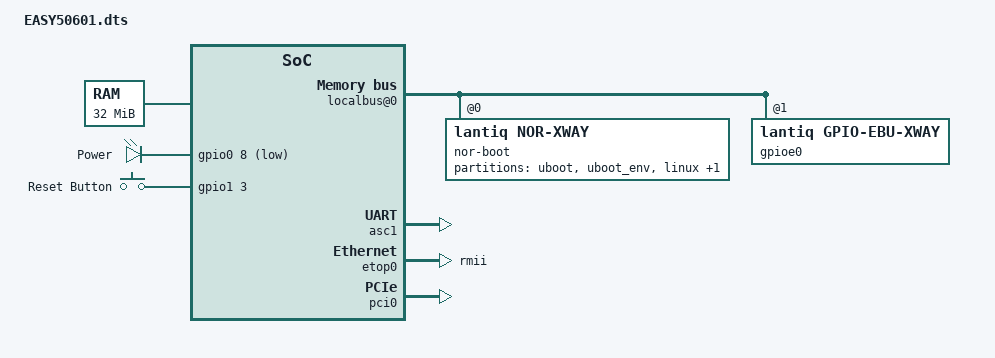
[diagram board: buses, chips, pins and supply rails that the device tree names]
/dts-v1/;

/ {
	#address-cells = <1>;
	#size-cells = <1>;
	compatible = "lantiq,xway";

	/* this node is available during early boot */
	chosen {
		/* define our machtype */
		machid = "foo";
		machname = "Test 1234";
		bootargs = "console=ttyLTQ0,115200 init=/etc/preinit";
	};

	cpus {
		cpu@0 {
			compatible = "mips,mips24k";
		};
	};

	memory@0 {
		reg = <0x0 0x2000000>;  // 32M at 0x0
	};
	
	soc@1F800000 {
		#address-cells = <1>;
		#size-cells = <1>;
		compatible = "lantiq,danube", "lantiq,ar9",
				"lantiq,ase", "lantiq,vr9";
		reg = <0x1F800000 0x800000>;
		ranges = <0x0 0x1F800000 0x7FFFFF>;

		icu0: icu@80200 {
			#interrupt-cells = <1>;
			interrupt-controller;
			compatible = "lantiq,icu";
			reg = <0x80200 0x120>;
		};

		watchdog@803F0 {
			compatible = "lantiq,wdt";
			reg = <0x803F0 0x10>;
		};
	};

	sram@1F000000 {
		#address-cells = <1>;
		#size-cells = <1>;
		compatible = "lantiq,sram";
		reg = <0x1F000000 0x800000>;
		ranges = <0x0 0x1F000000 0x7FFFFF>;

		eiu0: eiu@101000 {
			#interrupt-cells = <1>;
			interrupt-controller;
			interrupt-parent;
			compatible = "lantiq,eiu-xway";
			reg = <0x101000 0x1000>;
		};

		pmu0: pmu@102000 {
			compatible = "lantiq,pmu-xway";
			reg = <0x102000 0x1000>;
		};

		cgu0: cgu@103000 {
			compatible = "lantiq,cgu-xway";
			reg = <0x103000 0x1000>;
			#clock-cells = <1>;
		};

		rcu0: rcu@203000 {
			compatible = "lantiq,rcu-xway";
			reg = <0x203000 0x1000>;
		};
	};

	fpi@10000000 {
		#address-cells = <1>;
		#size-cells = <1>;
		compatible = "lantiq,fpi";
		ranges = <0x0 0x10000000 0xEEFFFFF>;
		reg = <0x10000000 0xEF00000>;
		localbus@0 {
			#address-cells = <2>;
			#size-cells = <1>;
			compatible = "lantiq,localbus-xway";
			ranges = <0 0 0x0 0x3ffffff /* addrsel0 */ 
				1 0 0x4000000 0x1ffffff>; /* addrsel1 */

			nor-boot@0 {
				compatible = "lantiq,nor-xway";
				bank-width = <2>;
				reg = <0 0x0 0x2000000>; /* 32MB */
				#address-cells = <1>;
				#size-cells = <1>;

				partition@0 {
					label = "uboot";
					reg = <0x00000 0x10000>; /* 64 KB */
				};

				partition@10000 {
					label = "uboot_env";
					reg = <0x10000 0x10000>; /* 64 KB */
				};

				partition@20000 {
					label = "linux";
					reg = <0x20000 0x3d0000>;
				};

				partition@3f0000 {
					label = "boardconfig";
					reg = <0x3f0000 0x10000>; /* 256 KB */
				};
			};
		
			gpioe0: gpio-ebu@4000000 {
				compatible = "lantiq,gpio-ebu-xway";
				#gpio-cells = <2>;
				reg = <1 0x0 0x1000>;
				gpio-controller;
			};
		};

		/*asc0: serial@E100400 {
			compatible = "lantiq,asc";
			reg = <0xE100400 0x400>;
			interrupt-parent = <&icu0>;
			interrupts = <104 105 106>;
		};*/

		asc1: serial@E100C00 {
			compatible = "lantiq,asc";
			reg = <0xE100C00 0x400>;
			interrupt-parent = <&icu0>;
			interrupts = <112 113 114>;
		};

		gpio0: gpio@E100B10 {
			#gpio-cells = <2>;
			compatible = "lantiq,gpio-xway";
			gpio-controller;
			reg = <0xE100B10 0x30>;
			bank = <0>;
		};

		gpio1: gpio@E100B40 {
			#gpio-cells = <2>;
			compatible = "lantiq,gpio-xway";
			gpio-controller;
			reg = <0xE100B40 0x30>;
			bank = <1>;
		};

		/* ar9/vr9 only */
		gpio2: gpio@E100B70 {
			#gpio-cells = <2>;
			compatible = "lantiq,gpio-xway";
			gpio-controller;
			reg = <0xE100B70 0x30>;
			bank = <2>;
		};

		gpios0: gpio-stp@E100BB0 {
			#gpio-cells = <2>;
			compatible = "lantiq,gpio-stp-xway";
			gpio-controller;
			reg = <0xE100BB0 0x40>;
			gpios = <&gpio0 4 0	/* stp-st */
				&gpio0 5 0	/* stp-d */
				&gpio0 6 0>; 	/* stp-sh */
		};

/*		etop0: ethernet@E180000 {
			compatible = "lantiq,etop-xway";
			reg = <0xE180000 0x40000 0xE108000 0x200>;
			interrupt-parent = <&icu0>;
			interrupts = <73 78>;
			phy-mode = "mii";
			mac-address = [ 00 11 22 33 44 55 ];
			//boardconf-mac = <@brnboot lanmac>;
			systrl = <&pmu0 1 &cgu0 2>;
		};
*/
		etop0: ethernet@E180000 {
			compatible = "lantiq,etop-xway";
			reg = <0xE180000 0x40000 0xE108000 0x200>;
			interrupt-parent = <&icu0>;
			interrupts = <73 72>;
			phy-mode = "rmii";
			mac-address = [ 00 11 22 33 44 55 ];
			//boardconf-mac = <@brnboot lanmac>;
			systrl = <&pmu0 1 &cgu0 2>;
		};

		dma0: dma@E104100 {
			compatible = "lantiq,dma-xway";
			reg = <0xE104100 0x800>;
		};
		
		ebu0: ebu@E105300 {
			compatible = "lantiq,ebu-xway";
			reg = <0xE105300 0x100>;
		};

		pci0: pci@E105400 {
			#address-cells = <3>;
			#size-cells = <2>;
			#interrupt-cells = <1>;
			compatible = "lantiq,pci-xway";
			bus-range = <0x0 0x0>;
			ranges = <1 0 0 0x18000000 0 0x1ffffff	/* pci memory */
				2 0 0 0x1AE00000 0 0x1fffff>;	/* io space */
			reg = <0x7000000 0x8000		/* config space */
				0xE105400 0x400>;	/* pci bridge */
			clock-frequency = <333333333>;
			/* the board uses a external clock */
			/*clock-source-external;*/
			interrupt-map-mask = <0xf800 0x0 0x0 0x7>;
			interrupt-map = <
				0x7000 0 0 1 &icu0 29 1// slot 14
			>;
			interrupt-parent = <&icu0>;
			gpios-gnt = <&gpio1 14 0	/* GNT1 */
					/*&gpio1 7 0*/	/* GNT2 */
					/*&gpio1 3 0*/	/* GNT3 */
					/*&gpio2 6 0*/>;/* GNT4 */
			gpios-req = <&gpio1 13 	/* REQ1 */
				/*	&gpio1 15 0*/ /* REQ2 */
					/*&gpio0 3 0*/	/* REQ3 */
					/*&gpio2 5 0*/>;/* REQ4 */
			gpios-irq = </*&gpio0 0 0*/	/* EXIN0 */
					&gpio0 1 0	/* EXIN1 */
					/*&gpio0 2 0*/	/* EXIN2 */
					/* ar9/vr9 only */
					/*&gpio2 7 0*/	/* EXIN3 */
					/*&gpio0 10 0*/	/* EXIN4 */
					/*&gpio0 9 0*/>;/* EXIN5 */
		};

		gbit@E108000 {
			compatible = "lantiq,gbit-xway";
			reg = <0x108000 0x200>;
		};
	};

	gpio-leds {
		compatible = "gpio-leds";
		redpower {
			label = "Power";
			gpios = <&gpio0 8 1>;
			default-state = <1>;
			linux,default-trigger = "Heartbeat";
		};
	};

	gpio-keys {
		compatible = "gpio-keys";
		reset {
			label = "Reset Button";
			gpios = <&gpio1 3 0>; /* gpio 19 */
			linux,code = <0x100>; /* BTN_0 */
			gpio-key,wakeup;
			};
	};
};
